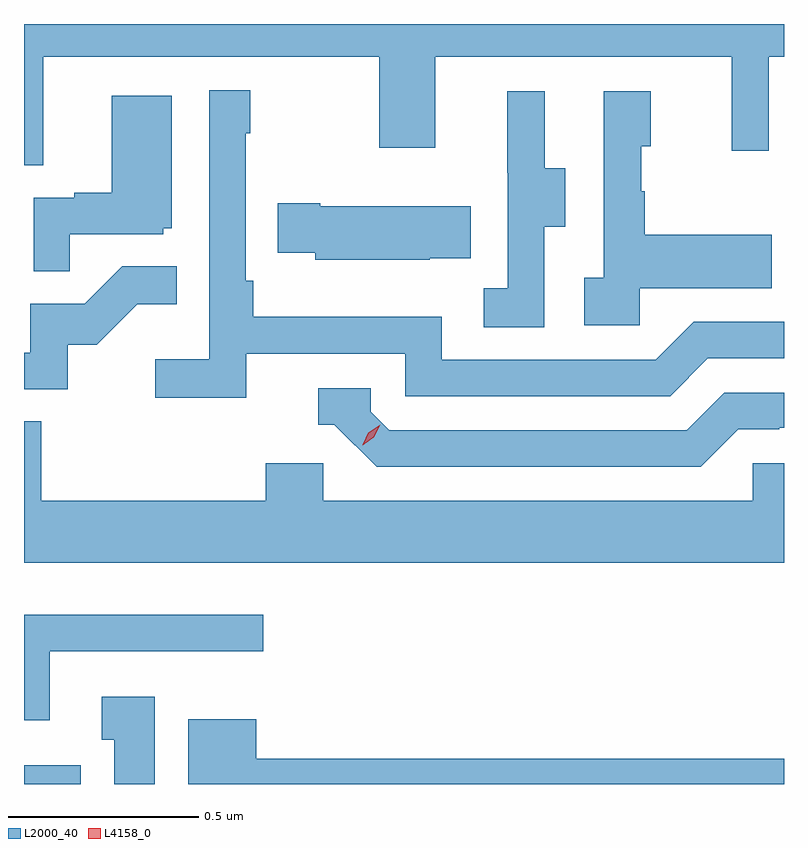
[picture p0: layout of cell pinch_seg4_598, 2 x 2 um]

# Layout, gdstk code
import gdstk
lib = gdstk.Library(unit=1e-6, precision=1e-09)
def R(c, l, rs):  # rectangles x0, y0, x1, y1
    for r in rs: c.add(gdstk.rectangle(r[:2], r[2:], *l))
def P(c, l, *ps):  # polygons
    for p in ps: c.add(gdstk.Polygon(p, *l))
L2000_40 = (2000, 40)
L4158_0 = (4158, 0)

pinch_seg4_598 = lib.new_cell('pinch_seg4_598')
R(pinch_seg4_598, L2000_40, [(1035.575,769.598,1035.724,769.648)])
P(pinch_seg4_598, L2000_40, [(1035.625,771.512),(1036.51,771.512),(1036.51,771.273),(1036.657,771.273),(1036.657,771.512),(1037.438,771.512),(1037.438,771.264),(1037.535,771.264),(1037.535,771.512),(1037.575,771.512),(1037.575,771.598),(1035.575,771.598),(1035.575,771.226),(1035.625,771.226)],
  [(1036.16,770.73),(1036.578,770.73),(1036.578,770.619),(1037.275,770.619),(1037.374,770.718),(1037.575,770.718),(1037.575,770.814),(1037.337,770.814),(1037.238,770.715),(1036.674,770.715),(1036.674,770.827),(1036.178,770.827),(1036.178,770.923),(1036.158,770.923),(1036.158,771.311),(1036.171,771.311),(1036.171,771.424),(1036.062,771.424),(1036.062,770.716),(1035.921,770.716),(1035.921,770.614),(1036.16,770.614)],
  [(1037.196,770.903),(1037.543,770.903),(1037.543,771.043),(1037.209,771.043),(1037.209,771.158),(1037.199,771.158),(1037.199,771.276),(1037.224,771.276),(1037.224,771.421),(1037.1,771.421),(1037.1,770.93),(1037.049,770.93),(1037.049,770.805),(1037.196,770.805)],
  [(1036.944,771.064),(1036.999,771.064),(1036.999,771.219),(1036.945,771.219),(1036.945,771.421),(1036.847,771.421),(1036.847,771.207),(1036.848,771.207),(1036.848,770.903),(1036.785,770.903),(1036.785,770.8),(1036.944,770.8)],
  [(1035.695,771.045),(1035.942,771.045),(1035.942,771.06),(1035.964,771.06),(1035.964,771.409),(1035.806,771.409),(1035.806,771.154),(1035.707,771.154),(1035.707,771.141),(1035.6,771.141),(1035.6,770.947),(1035.695,770.947)],
  [(1036.643,770.981),(1036.751,770.981),(1036.751,771.118),(1036.354,771.118),(1036.354,771.126),(1036.243,771.126),(1036.243,770.996),(1036.341,770.996),(1036.341,770.978),(1036.643,770.978)],
  [(1035.69,770.754),(1035.766,770.754),(1035.873,770.861),(1035.977,770.861),(1035.977,770.96),(1035.833,770.96),(1035.735,770.862),(1035.591,770.862),(1035.591,770.733),(1035.575,770.733),(1035.575,770.637),(1035.69,770.637)],
  [(1037.455,770.532),(1037.562,770.532),(1037.562,770.535),(1037.575,770.535),(1037.575,770.628),(1037.418,770.628),(1037.319,770.529),(1036.536,770.529),(1036.488,770.577),(1036.488,770.64),(1036.349,770.64),(1036.349,770.544),(1036.392,770.544),(1036.503,770.433),(1037.356,770.433)],
  [(1037.575,770.442),(1037.493,770.442),(1037.493,770.344),(1036.362,770.344),(1036.362,770.442),(1036.211,770.442),(1036.211,770.344),(1035.62,770.344),(1035.62,770.552),(1035.575,770.552),(1035.575,770.18),(1037.575,770.18)],
  [(1035.643,769.947),(1036.204,769.947),(1036.204,770.044),(1035.575,770.044),(1035.575,769.766),(1035.643,769.766)],
  [(1035.919,769.828),(1035.779,769.828),(1035.779,769.715),(1035.812,769.715),(1035.812,769.598),(1035.919,769.598)],
  [(1037.575,769.664),(1036.186,769.664),(1036.186,769.768),(1036.007,769.768),(1036.007,769.598),(1037.575,769.598)])
P(pinch_seg4_598, L4158_0, [(1036.466,770.49),(1036.466,770.491),(1036.481,770.523),(1036.512,770.543),(1036.512,770.543),(1036.512,770.543),(1036.496,770.51),(1036.466,770.49)])

lib.write_gds('pinch_seg4_598.gds')
